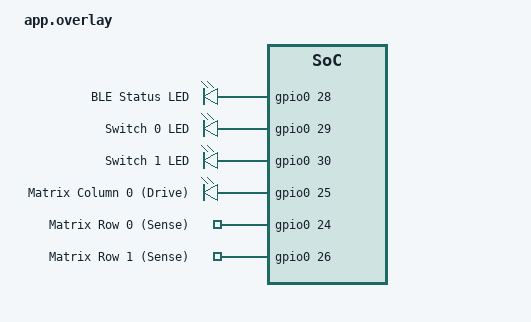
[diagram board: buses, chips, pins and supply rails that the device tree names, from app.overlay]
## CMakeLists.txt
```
cmake_minimum_required(VERSION 3.20.0)

# Find Zephyr package
find_package(Zephyr REQUIRED HINTS $ENV{ZEPHYR_BASE})

# Set the project name
project(superr)

# Add source files (only what's actually used)
target_sources(app PRIVATE 
    src/main.c
    src/ble_midi_service.c
    src/midi_ble.c
    src/ble_config_service.c
    src/ws2812_spi.c
)
```

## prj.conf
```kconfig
CONFIG_GPIO=y
CONFIG_CONSOLE=y
CONFIG_SERIAL=y
CONFIG_UART_CONSOLE=y
CONFIG_PRINTK=y

# Bluetooth Low Energy
CONFIG_BT=y
CONFIG_BT_PERIPHERAL=y
CONFIG_BT_DEVICE_NAME="Superr_MIDI"

# Memory Settings
CONFIG_MAIN_STACK_SIZE=2048
CONFIG_SYSTEM_WORKQUEUE_STACK_SIZE=2048

# LED Strip Support (WS2812B)
CONFIG_SPI=y
CONFIG_LED_STRIP=y


# Watchdog
CONFIG_WATCHDOG=y
CONFIG_WDT_DISABLE_AT_BOOT=n

# Power Management
CONFIG_PM=y
CONFIG_PM_DEVICE=y
CONFIG_POWEROFF=y

# Enable NFC pins as GPIO
CONFIG_NFCT_PINS_AS_GPIOS=y
```

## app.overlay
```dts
/ {
   aliases {
       ble-status-led = &ble_status_led;
       sw0-led = &sw0_led;
       sw1-led = &sw1_led;
       matrix-col0 = &matrix_col0;
       matrix-row0 = &matrix_row0;
       matrix-row1 = &matrix_row1;
   };

    leds {
        compatible = "gpio-leds";
        
        ble_status_led: ble_status_led {
            gpios = <&gpio0 28 GPIO_ACTIVE_HIGH>;
            label = "BLE Status LED";
        };
        
        sw0_led: sw0_led {
            gpios = <&gpio0 29 GPIO_ACTIVE_HIGH>;
            label = "Switch 0 LED";
        };
        
        sw1_led: sw1_led {
            gpios = <&gpio0 30 GPIO_ACTIVE_HIGH>;
            label = "Switch 1 LED";
        };
        
        matrix_col0: matrix_col0 {
            gpios = <&gpio0 25 GPIO_ACTIVE_HIGH>;
            label = "Matrix Column 0 (Drive)";
        };
    };

    matrix_rows {
        compatible = "gpio-keys";
        
        matrix_row0: matrix_row0 {
            gpios = <&gpio0 24 (GPIO_PULL_DOWN | GPIO_ACTIVE_HIGH)>;
            label = "Matrix Row 0 (Sense)";
        };
        
        matrix_row1: matrix_row1 {
            gpios = <&gpio0 26 (GPIO_PULL_DOWN | GPIO_ACTIVE_HIGH)>;
            label = "Matrix Row 1 (Sense)";
        };
    };
};
```

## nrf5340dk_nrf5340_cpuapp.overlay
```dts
#include <zephyr/dt-bindings/led/led.h>
/ {
    aliases {
        ble-status-led = &ble_status_led;
        led-strip = &led_strip;
        watchdog0 = &wdt0;
    };

    leds {
        compatible = "gpio-leds";
        
        ble_status_led: ble_status_led {
            gpios = <&gpio0 28 GPIO_ACTIVE_HIGH>;
            label = "BLE Status LED";
        };
    };
    
    
    /* Touch Sensor Removed */
};

/* Configure SPI1 for WS2812B LED Strip */
&spi1 {
    compatible = "nordic,nrf-spim";
    status = "okay";
    pinctrl-0 = <&spi1_default>;
    pinctrl-1 = <&spi1_sleep>;
    pinctrl-names = "default", "sleep";

    led_strip: ws2812@0 {
        compatible = "custom,ws2812-spi";
        reg = <0>; /* SPI chip select 0 */
        spi-max-frequency = <8000000>; /* WS2812B needs ~8MHz for 8-bit symbols */

        /* WS2812B timing requirements */
        color-mapping = <LED_COLOR_ID_GREEN
                         LED_COLOR_ID_RED
                         LED_COLOR_ID_BLUE>;
        chain-length = <25>; /* 25 LEDs (1 Sacrificial + 24 Keys) */
        spi-one-frame = <0xF8>;  /* 5 bits H (625ns), 3 bits L (375ns) at 8MHz */
        spi-zero-frame = <0xE0>; /* 3 bits H (375ns), 5 bits L (625ns) at 8MHz */
        reset-delay = <300>;
        
        label = "WS2812B_STRIP";
    };
};

/* Pin Configuration for SPI1 (MOSI on P0.27, Dummy SCK on P0.31) */
&pinctrl {
    spi1_default: spi1_default {
        group1 {
            psels = <NRF_PSEL(SPIM_MOSI, 0, 27)>,
                    <NRF_PSEL(SPIM_SCK, 0, 31)>; /* Dummy SCK */
            bias-pull-down;
        };
    };

    spi1_sleep: spi1_sleep {
        group1 {
            psels = <NRF_PSEL(SPIM_MOSI, 0, 27)>,
                    <NRF_PSEL(SPIM_SCK, 0, 31)>;
            low-power-enable;
            bias-pull-down;
        };
    };
};

// Disable GPIO forwarder to free up P1 pins
&gpio_fwd {
    status = "disabled";
};
```

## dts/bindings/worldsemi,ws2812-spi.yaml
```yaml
description: Custom binding for WS2812 SPI driver with bits-per-symbol support

compatible: "custom,ws2812-spi"

include: spi-device.yaml

properties:
  chain-length:
    type: int
    required: true
    description: Number of LEDs in the chain

  spi-one-frame:
    type: int
    required: true
    description: SPI frame to represent a 1 bit

  spi-zero-frame:
    type: int
    required: true
    description: SPI frame to represent a 0 bit

  color-mapping:
    type: array
    required: true
    description: Color mapping (e.g. RGB, GRB)

  reset-delay:
    type: int
    required: false
    description: Reset delay in microseconds

  bits-per-symbol:
    type: int
    required: false
    description: Number of SPI bits per WS2812 symbol
```

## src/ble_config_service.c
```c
#include <zephyr/kernel.h>
#include <zephyr/bluetooth/bluetooth.h>
#include <zephyr/bluetooth/gatt.h>
#include <zephyr/bluetooth/uuid.h>
#include <zephyr/logging/log.h>
#include "ble_config_service.h"

LOG_MODULE_REGISTER(ble_conf, LOG_LEVEL_INF);

// Global Settings (Defaults)
uint8_t g_sensitivity = 50;
uint8_t g_led_theme = 0;
int8_t  g_transpose = 0;

// ========== UUID DEFINITIONS ==========
// Base UUID: 12345678-1234-5678-1234-56789abc0000
#define BT_UUID_SUPERR_VAL \
    BT_UUID_128_ENCODE(0x12345678, 0x1234, 0x5678, 0x1234, 0x56789abc0000)

// Characteristics
#define BT_UUID_SENSITIVITY_VAL \
    BT_UUID_128_ENCODE(0x12345678, 0x1234, 0x5678, 0x1234, 0x56789abc0001)

#define BT_UUID_THEME_VAL \
    BT_UUID_128_ENCODE(0x12345678, 0x1234, 0x5678, 0x1234, 0x56789abc0002)

#define BT_UUID_TRANSPOSE_VAL \
    BT_UUID_128_ENCODE(0x12345678, 0x1234, 0x5678, 0x1234, 0x56789abc0003)

#define BT_UUID_SUPERR_SERVICE  BT_UUID_DECLARE_128(BT_UUID_SUPERR_VAL)
#define BT_UUID_SENSITIVITY     BT_UUID_DECLARE_128(BT_UUID_SENSITIVITY_VAL)
#define BT_UUID_THEME           BT_UUID_DECLARE_128(BT_UUID_THEME_VAL)
#define BT_UUID_TRANSPOSE       BT_UUID_DECLARE_128(BT_UUID_TRANSPOSE_VAL)

// ========== CALLBACKS ==========

// 1. Sensitivity Write Callback (0-100)
static ssize_t write_sensitivity(struct bt_conn *conn, const struct bt_gatt_attr *attr,
                                 const void *buf, uint16_t len, uint16_t offset,
                                 uint8_t flags)
{
    if (len != 1) return BT_GATT_ERR(BT_ATT_ERR_INVALID_ATTRIBUTE_LEN);
    
    uint8_t val = *((uint8_t *)buf);
    if (val > 100) val = 100; // Clamp
    
    g_sensitivity = val;
    LOG_INF("Sensitivity updated to: %d", val);
    
    return len;
}

// 2. Theme Write Callback (0-2)
static ssize_t write_theme(struct bt_conn *conn, const struct bt_gatt_attr *attr,
                           const void *buf, uint16_t len, uint16_t offset,
                           uint8_t flags)
{
    if (len != 1) return BT_GATT_ERR(BT_ATT_ERR_INVALID_ATTRIBUTE_LEN);
    
    uint8_t val = *((uint8_t *)buf);
    // 0=Aurora, 1=Fire, 2=Matrix
    
    g_led_theme = val;
    LOG_INF("LED Theme updated to: %d", val);
    
    return len;
}

// 3. Transpose Write Callback (-12 to +12)
static ssize_t write_transpose(struct bt_conn *conn, const struct bt_gatt_attr *attr,
                               const void *buf, uint16_t len, uint16_t offset,
                               uint8_t flags)
{
    if (len != 1) return BT_GATT_ERR(BT_ATT_ERR_INVALID_ATTRIBUTE_LEN);
    
    int8_t val = *((int8_t *)buf);
    
    if (val < -12) val = -12;
    if (val > 12) val = 12;
    
    g_transpose = val;
    LOG_INF("Transpose updated to: %d", val);
    
    return len;
}

// ========== SERVICE DEFINITION ==========
BT_GATT_SERVICE_DEFINE(superr_svc,
    BT_GATT_PRIMARY_SERVICE(BT_UUID_SUPERR_SERVICE),
    
    // Characteristic: Sensitivity (Read/Write)
    BT_GATT_CHARACTERISTIC(BT_UUID_SENSITIVITY,
                           BT_GATT_CHRC_READ | BT_GATT_CHRC_WRITE,
                           BT_GATT_PERM_READ | BT_GATT_PERM_WRITE,
                           NULL, write_sensitivity, &g_sensitivity),
                           
    // Characteristic: LED Theme (Read/Write)
    BT_GATT_CHARACTERISTIC(BT_UUID_THEME,
                           BT_GATT_CHRC_READ | BT_GATT_CHRC_WRITE,
                           BT_GATT_PERM_READ | BT_GATT_PERM_WRITE,
                           NULL, write_theme, &g_led_theme),
                           
    // Characteristic: Transpose (Read/Write)
    BT_GATT_CHARACTERISTIC(BT_UUID_TRANSPOSE,
                           BT_GATT_CHRC_READ | BT_GATT_CHRC_WRITE,
                           BT_GATT_PERM_READ | BT_GATT_PERM_WRITE,
                           NULL, write_transpose, &g_transpose)
);

int ble_config_init(void)
{
    // Zephyr's BT_GATT_SERVICE_DEFINE automatically registers it at boot time.
    // We just return success.
    LOG_INF("Superr Configuration Service Initialized");
    return 0;
}
```

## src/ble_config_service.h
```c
#ifndef BLE_CONFIG_SERVICE_H
#define BLE_CONFIG_SERVICE_H

#include <zephyr/types.h>

// ========== GLOBAL SETTINGS ==========
// These are modified by the Phone App via Bluetooth
// and read by the Main Loop to change behavior.

extern uint8_t g_sensitivity; // 0 (Hard) to 100 (Sensitive). Default: 50
extern uint8_t g_led_theme;   // 0=Aurora, 1=Fire, 2=Matrix. Default: 0
extern int8_t  g_transpose;   // -12 to +12 semitones. Default: 0

// ========== API ==========
/** @brief Initialize the Configuration Service */
int ble_config_init(void);

#endif
```

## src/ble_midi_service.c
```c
#include <zephyr/kernel.h>
#include <zephyr/bluetooth/bluetooth.h>
#include <zephyr/bluetooth/conn.h>
#include <zephyr/bluetooth/gatt.h>
#include <zephyr/bluetooth/uuid.h>
#include <zephyr/sys/printk.h>
#include "ble_midi_service.h"

// BLE MIDI Service UUID: 03B80E5A-EDE8-4B33-A751-6CE34EC4C700
#define BT_UUID_MIDI_SERVICE_VAL \
    BT_UUID_128_ENCODE(0x03B80E5A, 0xEDE8, 0x4B33, 0xA751, 0x6CE34EC4C700)

// MIDI I/O Characteristic UUID: 7772E5DB-3868-4112-A1A9-F2669D106BF3
#define BT_UUID_MIDI_IO_VAL \
    BT_UUID_128_ENCODE(0x7772E5DB, 0x3868, 0x4112, 0xA1A9, 0xF2669D106BF3)

#define BT_UUID_MIDI_SERVICE  BT_UUID_DECLARE_128(BT_UUID_MIDI_SERVICE_VAL)
#define BT_UUID_MIDI_IO       BT_UUID_DECLARE_128(BT_UUID_MIDI_IO_VAL)

// Connection tracking
static struct bt_conn *current_conn = NULL;
static bool notify_enabled = false;

// BLE Status LED
static const struct gpio_dt_spec *ble_status_led_ptr = NULL;

// MIDI data buffer (for read operations - optional)
static uint8_t midi_data_buf[20] = {0};
static uint8_t midi_data_len = 0;

// Forward declarations
static ssize_t read_midi_io(struct bt_conn *conn, const struct bt_gatt_attr *attr,
                            void *buf, uint16_t len, uint16_t offset);
static ssize_t write_midi_io(struct bt_conn *conn, const struct bt_gatt_attr *attr,
                             const void *buf, uint16_t len, uint16_t offset, uint8_t flags);
static void midi_ccc_cfg_changed(const struct bt_gatt_attr *attr, uint16_t value);

// Define BLE MIDI GATT Service
BT_GATT_SERVICE_DEFINE(midi_svc,
    BT_GATT_PRIMARY_SERVICE(BT_UUID_MIDI_SERVICE),
    
    // MIDI I/O Characteristic
    BT_GATT_CHARACTERISTIC(BT_UUID_MIDI_IO,
                          BT_GATT_CHRC_READ | BT_GATT_CHRC_WRITE_WITHOUT_RESP | BT_GATT_CHRC_NOTIFY,
                          BT_GATT_PERM_READ | BT_GATT_PERM_WRITE,
                          read_midi_io, write_midi_io, NULL),
    BT_GATT_CCC(midi_ccc_cfg_changed, BT_GATT_PERM_READ | BT_GATT_PERM_WRITE),
);

// Read MIDI I/O characteristic
static ssize_t read_midi_io(struct bt_conn *conn, const struct bt_gatt_attr *attr,
                            void *buf, uint16_t len, uint16_t offset)
{
    // Return last MIDI data sent (optional)
    return bt_gatt_attr_read(conn, attr, buf, len, offset, midi_data_buf, midi_data_len);
}

// Write MIDI I/O characteristic (for receiving MIDI from central)
static ssize_t write_midi_io(struct bt_conn *conn, const struct bt_gatt_attr *attr,
                             const void *buf, uint16_t len, uint16_t offset, uint8_t flags)
{
    // Handle incoming MIDI data (optional - for bidirectional MIDI)
    printk("Received MIDI data: %d bytes\n", len);
    return len;
}

// CCC (Client Characteristic Configuration) changed callback
static void midi_ccc_cfg_changed(const struct bt_gatt_attr *attr, uint16_t value)
{
    notify_enabled = (value == BT_GATT_CCC_NOTIFY);
    printk("MIDI notifications %s\n", notify_enabled ? "enabled" : "disabled");
}

// Connection callbacks
static void connected(struct bt_conn *conn, uint8_t err)
{
    if (err) {
        printk("BLE Connection failed (err 0x%02x)\n", err);
    } else {
        current_conn = bt_conn_ref(conn);
        printk("BLE MIDI Connected\n");
        
        // Turn on BLE status LED
        if (ble_status_led_ptr && gpio_is_ready_dt(ble_status_led_ptr)) {
            gpio_pin_set_dt(ble_status_led_ptr, 1);
        }
    }
}

static void disconnected(struct bt_conn *conn, uint8_t reason)
{
    printk("BLE MIDI Disconnected (reason 0x%02x)\n", reason);
    
    if (current_conn) {
        bt_conn_unref(current_conn);
        current_conn = NULL;
    }
    
    notify_enabled = false;
    
    // Turn off BLE status LED
    if (ble_status_led_ptr && gpio_is_ready_dt(ble_status_led_ptr)) {
        gpio_pin_set_dt(ble_status_led_ptr, 0);
    }
}

BT_CONN_CB_DEFINE(conn_callbacks) = {
    .connected = connected,
    .disconnected = disconnected,
};

// Advertising parameters (new API - no deprecated options)
static struct bt_le_adv_param adv_param = BT_LE_ADV_PARAM_INIT(
    BT_LE_ADV_OPT_CONN,
    BT_GAP_ADV_FAST_INT_MIN_2,
    BT_GAP_ADV_FAST_INT_MAX_2,
    NULL
);

// Advertising data
static const struct bt_data ad[] = {
    BT_DATA_BYTES(BT_DATA_FLAGS, (BT_LE_AD_GENERAL | BT_LE_AD_NO_BREDR)),
    BT_DATA(BT_DATA_NAME_COMPLETE, CONFIG_BT_DEVICE_NAME, sizeof(CONFIG_BT_DEVICE_NAME) - 1),
};

// Scan response data
static const struct bt_data sd[] = {
    BT_DATA_BYTES(BT_DATA_UUID128_ALL, BT_UUID_MIDI_SERVICE_VAL),
};

// Initialize BLE MIDI
int ble_midi_init(const struct gpio_dt_spec *status_led)
{
    int err;

    printk("Initializing BLE MIDI...\n");
    
    // Store status LED pointer
    ble_status_led_ptr = status_led;

    // Enable Bluetooth
    err = bt_enable(NULL);
    if (err) {
        printk("Bluetooth init failed (err %d)\n", err);
        return err;
    }

    printk("Bluetooth initialized\n");

    // Start advertising (using new API)
    err = bt_le_adv_start(&adv_param, ad, ARRAY_SIZE(ad), sd, ARRAY_SIZE(sd));
    if (err) {
        printk("Advertising failed to start (err %d)\n", err);
        return err;
    }

    printk("BLE MIDI advertising as '%s'\n", CONFIG_BT_DEVICE_NAME);
    
    return 0;
}

// Send MIDI data
int ble_midi_send(const uint8_t *data, uint8_t len)
{
    if (!data || len == 0 || len > sizeof(midi_data_buf)) {
        return -EINVAL;
    }

    // Store for read operations
    memcpy(midi_data_buf, data, len);
    midi_data_len = len;
    
    // Send notification if connected and enabled
    if (current_conn && notify_enabled) {
        int err = bt_gatt_notify(current_conn, &midi_svc.attrs[1], data, len);
        if (err) {
            printk("MIDI notify failed (err %d)\n", err);
            return err;
        }
    }
    
    return 0;
}

// Check if connected
bool ble_midi_is_connected(void)
{
    return (current_conn != NULL && notify_enabled);
}
```

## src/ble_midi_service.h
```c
#ifndef BLE_MIDI_SERVICE_H
#define BLE_MIDI_SERVICE_H

#include <zephyr/types.h>
#include <zephyr/drivers/gpio.h>

/**
 * @brief Initialize BLE MIDI service and start advertising
 * 
 * @param status_led Optional BLE status LED (NULL if not used)
 * @return 0 on success, negative error code on failure
 */
int ble_midi_init(const struct gpio_dt_spec *status_led);

/**
 * @brief Send MIDI data over BLE
 * 
 * @param data BLE MIDI packet data
 * @param len Length of data
 * @return 0 on success, negative on error
 */
int ble_midi_send(const uint8_t *data, uint8_t len);

/**
 * @brief Check if a BLE MIDI client is connected
 * 
 * @return true if connected, false otherwise
 */
bool ble_midi_is_connected(void);

#endif // BLE_MIDI_SERVICE_H
```

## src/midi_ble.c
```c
#include "midi_ble.h"
#include <zephyr/kernel.h>
#include <string.h>

// BLE MIDI timestamp helpers
// For simplicity, we use a running timestamp based on system uptime
static uint8_t get_timestamp_high(void)
{
    // BLE MIDI timestamp high 6 bits (bit 7 = 1, bits 6-0 = timestamp bits 12-6)
    uint32_t ms = k_uptime_get_32();
    return 0x80 | ((ms >> 6) & 0x3F);
}

static uint8_t get_timestamp_low(void)
{
    // BLE MIDI timestamp low 7 bits (bit 7 = 1, bits 6-0 = timestamp bits 5-0)
    uint32_t ms = k_uptime_get_32();
    return 0x80 | (ms & 0x3F);
}

int midi_ble_encode(const struct midi_ump *ump, uint8_t *buf, size_t buf_len)
{
    if (!ump || !buf || buf_len < 5) {
        return -EINVAL;
    }

    uint8_t mt = UMP_MT(*ump);
    
    // We only handle MIDI1 channel voice messages for now
    if (mt != UMP_MT_MIDI1_CHANNEL_VOICE) {
        return -ENOTSUP;
    }

    // BLE MIDI packet format:
    // [Header] [Timestamp] [Status] [Data1] [Data2...]
    buf[0] = get_timestamp_high();
    buf[1] = get_timestamp_low();
    buf[2] = UMP_MIDI_STATUS(*ump);      // Status byte
    buf[3] = UMP_MIDI1_P1(*ump);          // First parameter
    buf[4] = UMP_MIDI1_P2(*ump);          // Second parameter

    return 5;
}

int midi_ble_note_on(uint8_t note, uint8_t velocity, uint8_t channel,
                     uint8_t *buf, size_t buf_len)
{
    if (!buf || buf_len < 5) {
        return -EINVAL;
    }

    // Create Zephyr MIDI1 UMP for Note On
    struct midi_ump ump = UMP_MIDI1_CHANNEL_VOICE(
        0,                      // Group 0
        UMP_MIDI_NOTE_ON,       // Note On command
        channel & 0x0F,         // Channel (0-15)
        note & 0x7F,            // Note number (0-127)
        velocity & 0x7F         // Velocity (0-127)
    );

    return midi_ble_encode(&ump, buf, buf_len);
}

int midi_ble_note_off(uint8_t note, uint8_t velocity, uint8_t channel,
                      uint8_t *buf, size_t buf_len)
{
    if (!buf || buf_len < 5) {
        return -EINVAL;
    }

    // Create Zephyr MIDI1 UMP for Note Off
    struct midi_ump ump = UMP_MIDI1_CHANNEL_VOICE(
        0,                      // Group 0
        UMP_MIDI_NOTE_OFF,      // Note Off command
        channel & 0x0F,         // Channel (0-15)
        note & 0x7F,            // Note number (0-127)
        velocity & 0x7F         // Release velocity (0-127)
    );

    return midi_ble_encode(&ump, buf, buf_len);
}

int midi_ble_control_change(uint8_t cc_num, uint8_t value, uint8_t channel,
                             uint8_t *buf, size_t buf_len)
{
    if (!buf || buf_len < 5) {
        return -EINVAL;
    }

    // Create Zephyr MIDI1 UMP for Control Change
    struct midi_ump ump = UMP_MIDI1_CHANNEL_VOICE(
        0,                          // Group 0
        UMP_MIDI_CONTROL_CHANGE,    // Control Change command
        channel & 0x0F,             // Channel (0-15)
        cc_num & 0x7F,              // CC number (0-127)
        value & 0x7F                // CC value (0-127)
    );

    return midi_ble_encode(&ump, buf, buf_len);
}
```

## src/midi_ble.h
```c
#ifndef MIDI_BLE_H
#define MIDI_BLE_H

#include <zephyr/audio/midi.h>
#include <stdint.h>
#include <stddef.h>
#include <stdbool.h>

/**
 * @brief Convert Zephyr UMP MIDI1 message to BLE MIDI format
 * 
 * @param ump Zephyr Universal MIDI Packet
 * @param buf Output buffer for BLE MIDI packet
 * @param buf_len Size of output buffer
 * @return Length of BLE MIDI packet, or negative on error
 */
int midi_ble_encode(const struct midi_ump *ump, uint8_t *buf, size_t buf_len);

/**
 * @brief Create BLE MIDI packet for Note On
 * 
 * @param note MIDI note number (0-127, 60=Middle C)
 * @param velocity Note velocity (0-127)
 * @param channel MIDI channel (0-15)
 * @param buf Output buffer
 * @param buf_len Buffer size
 * @return Length of packet
 */
int midi_ble_note_on(uint8_t note, uint8_t velocity, uint8_t channel, 
                     uint8_t *buf, size_t buf_len);

/**
 * @brief Create BLE MIDI packet for Note Off
 * 
 * @param note MIDI note number (0-127)
 * @param velocity Release velocity (0-127)
 * @param channel MIDI channel (0-15)
 * @param buf Output buffer
 * @param buf_len Buffer size
 * @return Length of packet
 */
int midi_ble_note_off(uint8_t note, uint8_t velocity, uint8_t channel,
                      uint8_t *buf, size_t buf_len);

/**
 * @brief Create BLE MIDI packet for Control Change
 * 
 * @param cc_num Control Change number (0-127)
 * @param value CC value (0-127)
 * @param channel MIDI channel (0-15)
 * @param buf Output buffer
 * @param buf_len Buffer size
 * @return Length of packet
 */
int midi_ble_control_change(uint8_t cc_num, uint8_t value, uint8_t channel,
                             uint8_t *buf, size_t buf_len);

#endif // MIDI_BLE_H
```

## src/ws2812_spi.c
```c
/*
 * Copyright (c) 2017 Linaro Limited
 * Copyright (c) 2019, Nordic Semiconductor ASA
 * Copyright (c) 2021 Seagate Technology LLC
 * Copyright (c) 2025 Google LLC
 *
 * SPDX-License-Identifier: Apache-2.0
 */

#define DT_DRV_COMPAT custom_ws2812_spi

#include <zephyr/drivers/led_strip.h>

#include <string.h>

#define LOG_LEVEL CONFIG_LED_STRIP_LOG_LEVEL
#include <zephyr/logging/log.h>
LOG_MODULE_REGISTER(ws2812_spi);

#include <zephyr/kernel.h>
#include <zephyr/device.h>
#include <zephyr/drivers/spi.h>
#include <zephyr/sys/math_extras.h>
#include <zephyr/sys/util.h>
#include <zephyr/dt-bindings/led/led.h>

/*
 * The N-bit symbols for a '1' and '0' bit (spi-one-frame, spi-zero-frame)
 * are packed into the 8-bit SPI frames sent on the bus. The symbol width
 * is defined by the 'spi-bits-per-symbol' DT property.
 */
#define SPI_FRAME_BITS 8

/* Each color channel is represented by 8 bits. */
#define BITS_PER_COLOR_CHANNEL 8

/*
 * SPI master configuration:
 *
 * - mode 0 (the default), 8 bit, MSB first (arbitrary), one-line SPI
 * - no shenanigans (don't hold CS, don't hold the device lock, this
 *   isn't an EEPROM)
 */
#define SPI_OPER(idx) (SPI_OP_MODE_MASTER | SPI_TRANSFER_MSB | \
		  SPI_WORD_SET(SPI_FRAME_BITS))

struct ws2812_spi_cfg {
	struct spi_dt_spec bus;
	uint8_t *px_buf;
	uint8_t one_frame;
	uint8_t zero_frame;
	uint8_t bits_per_symbol;
	uint8_t num_colors;
	const uint8_t *color_mapping;
	size_t length;
	uint16_t reset_delay;
};

static const struct ws2812_spi_cfg *dev_cfg(const struct device *dev)
{
	return dev->config;
}

/*
 * Check if all enabled instances have a `bits-per-symbol` of 8.
 * This allows the fast path to be used exclusively, removing the generic
 * path logic from the build when it's not needed.
 */
#define WS2812_SPI_8BIT_SYMBOL_CHECK(idx) \
	(DT_INST_PROP(idx, bits_per_symbol) == SPI_FRAME_BITS) &&
#define WS2812_SPI_ALL_SYMBOLS_ARE_8_BITS \
	(DT_INST_FOREACH_STATUS_OKAY(WS2812_SPI_8BIT_SYMBOL_CHECK) 1)

/*
 * Serialize an 8-bit color value into the SPI buffer, MSbit first. Each of
 * the 8 data bits is represented by a N-bit symbol (`one_frame` for a '1' or
 * `zero_frame` for a '0'), which is then packed into the SPI buffer.
 */
static inline void ws2812_spi_ser(uint8_t color, uint8_t one, uint8_t zero,
				  uint8_t bits_per_symbol, uint8_t **buf,
				  uint8_t *bit_mask)
{
	for (int i = BITS_PER_COLOR_CHANNEL - 1; i >= 0; i--) {
		uint8_t pattern = (color & BIT(i)) ? one : zero;

		if (bits_per_symbol == SPI_FRAME_BITS) {
			/* Fast path for the common 8-bit symbol case */
			*(*buf)++ = pattern;
		}
#if !WS2812_SPI_ALL_SYMBOLS_ARE_8_BITS
		else {
			/* Generic path for N-bit symbols, compiled only when needed. */
			for (int p = bits_per_symbol - 1; p >= 0; p--) {
				if (pattern & BIT(p)) {
					**buf |= *bit_mask;
				} else {
					**buf &= ~(*bit_mask);
				}

				*bit_mask >>= 1;
				if (!*bit_mask) {
					*bit_mask = BIT(SPI_FRAME_BITS - 1);
					(*buf)++;
				}
			}
		}
#endif
	}
}

/*
 * Latch current color values on strip and reset its state machines.
 */
static inline void ws2812_reset_delay(uint16_t delay)
{
	k_usleep(delay);
}

static int ws2812_strip_update_rgb(const struct device *dev,
				   struct led_rgb *pixels,
				   size_t num_pixels)
{
	const struct ws2812_spi_cfg *cfg = dev_cfg(dev);
	const uint8_t one = cfg->one_frame, zero = cfg->zero_frame;
	const uint8_t bits_per_symbol = cfg->bits_per_symbol;
	const size_t total_bits = num_pixels * cfg->num_colors *
				  BITS_PER_COLOR_CHANNEL * bits_per_symbol;
	const size_t buf_len = DIV_ROUND_UP(total_bits, SPI_FRAME_BITS);
	struct spi_buf buf = {
		.buf = cfg->px_buf,
		.len = buf_len,
	};
	const struct spi_buf_set tx = {
		.buffers = &buf,
		.count = 1
	};
	uint8_t *px_buf = cfg->px_buf;
	uint8_t bit_mask = BIT(SPI_FRAME_BITS - 1);
	size_t i;
	int rc;

	/*
	 * Convert pixel data into an SPI bitstream. The bitstream contains
	 * pixel data in color mapping on-wire format (e.g. GRB, GRBW, RGB,
	 * etc).
	 */
	for (i = 0; i < num_pixels; i++) {
		uint8_t j;

		for (j = 0; j < cfg->num_colors; j++) {
			uint8_t pixel;

			switch (cfg->color_mapping[j]) {
			/* White channel is not supported by LED strip API. */
			case LED_COLOR_ID_WHITE:
				pixel = 0;
				break;
			case LED_COLOR_ID_RED:
				pixel = pixels[i].r;
				break;
			case LED_COLOR_ID_GREEN:
				pixel = pixels[i].g;
				break;
			case LED_COLOR_ID_BLUE:
				pixel = pixels[i].b;
				break;
			default:
				return -EINVAL;
			}

			ws2812_spi_ser(pixel, one, zero, bits_per_symbol,
				       &px_buf, &bit_mask);
		}
	}

	/* Clear unused padding bits in the final SPI byte. */
	if (bit_mask != BIT(SPI_FRAME_BITS - 1)) {
		*px_buf &= ~((bit_mask << 1) - 1);
	}

	/*
	 * Display the pixel data.
	 */
	rc = spi_write_dt(&cfg->bus, &tx);
	ws2812_reset_delay(cfg->reset_delay);

	return rc;
}

static size_t ws2812_strip_length(const struct device *dev)
{
	const struct ws2812_spi_cfg *cfg = dev_cfg(dev);

	return cfg->length;
}

static int ws2812_spi_init(const struct device *dev)
{
	const struct ws2812_spi_cfg *cfg = dev_cfg(dev);
	uint8_t i;

	if (!spi_is_ready_dt(&cfg->bus)) {
		LOG_ERR("SPI device %s not ready", cfg->bus.bus->name);
		return -ENODEV;
	}

	for (i = 0; i < cfg->num_colors; i++) {
		switch (cfg->color_mapping[i]) {
		case LED_COLOR_ID_WHITE:
		case LED_COLOR_ID_RED:
		case LED_COLOR_ID_GREEN:
		case LED_COLOR_ID_BLUE:
			break;
		default:
			LOG_ERR("%s: invalid channel to color mapping."
				"Check the color-mapping DT property",
				dev->name);
			return -EINVAL;
		}
	}

	return 0;
}

static DEVICE_API(led_strip, ws2812_spi_api) = {
	.update_rgb = ws2812_strip_update_rgb,
	.length = ws2812_strip_length,
};

#define WS2812_SPI_NUM_PIXELS(idx) \
	(DT_INST_PROP(idx, chain_length))
#define WS2812_SPI_ONE_FRAME(idx) \
	(DT_INST_PROP(idx, spi_one_frame))
#define WS2812_SPI_ZERO_FRAME(idx) \
	(DT_INST_PROP(idx, spi_zero_frame))
#define WS2812_SPI_BITS_PER_SYMBOL(idx) 8

/*
 * Check if all enabled instances have a `bits-per-symbol` of 8.
 * Hardcoded to 1 (true) since we stuck to 8 bits.
 */
#define WS2812_SPI_8BIT_SYMBOL_CHECK(idx) 1 &&

#define WS2812_NUM_COLORS(idx) \
	(DT_INST_PROP_LEN(idx, color_mapping))
#define WS2812_SPI_BUFSZ(idx) \
	DIV_ROUND_UP(WS2812_NUM_COLORS(idx) * BITS_PER_COLOR_CHANNEL * \
		     WS2812_SPI_NUM_PIXELS(idx) * \
		     WS2812_SPI_BITS_PER_SYMBOL(idx), SPI_FRAME_BITS)

/*
 * Retrieve the channel to color mapping (e.g. RGB, BGR, GRB, ...) from the
 * "color-mapping" DT property.
 */
#define WS2812_COLOR_MAPPING(idx)				  \
	static const uint8_t ws2812_spi_##idx##_color_mapping[] = \
		DT_INST_PROP(idx, color_mapping)

/* Get the latch/reset delay from the "reset-delay" DT property. */
#define WS2812_RESET_DELAY(idx) DT_INST_PROP_OR(idx, reset_delay, 0)

#define WS2812_SPI_DEVICE(idx)							\
	BUILD_ASSERT(								\
		(WS2812_SPI_BITS_PER_SYMBOL(idx) >= 3) &&			\
		(WS2812_SPI_BITS_PER_SYMBOL(idx) <= 8),				\
		"bits-per-symbol property must be between 3 and 8");		\
										\
	static uint8_t ws2812_spi_##idx##_px_buf[WS2812_SPI_BUFSZ(idx)] __nocache;	\
										\
	WS2812_COLOR_MAPPING(idx);						\
										\
	static const struct ws2812_spi_cfg ws2812_spi_##idx##_cfg = {		\
		.bus = SPI_DT_SPEC_INST_GET(idx, SPI_OPER(idx), 0),		\
		.px_buf = ws2812_spi_##idx##_px_buf,				\
		.one_frame = WS2812_SPI_ONE_FRAME(idx),				\
		.zero_frame = WS2812_SPI_ZERO_FRAME(idx),			\
		.bits_per_symbol = WS2812_SPI_BITS_PER_SYMBOL(idx),             \
		.num_colors = WS2812_NUM_COLORS(idx),				\
		.color_mapping = ws2812_spi_##idx##_color_mapping,		\
		.length = WS2812_SPI_NUM_PIXELS(idx),                           \
		.reset_delay = WS2812_RESET_DELAY(idx),				\
	};									\
										\
	DEVICE_DT_INST_DEFINE(idx,						\
			      ws2812_spi_init,					\
			      NULL,						\
			      NULL,						\
			      &ws2812_spi_##idx##_cfg,				\
			      POST_KERNEL,					\
			      CONFIG_LED_STRIP_INIT_PRIORITY,			\
			      &ws2812_spi_api);

DT_INST_FOREACH_STATUS_OKAY(WS2812_SPI_DEVICE)
```
